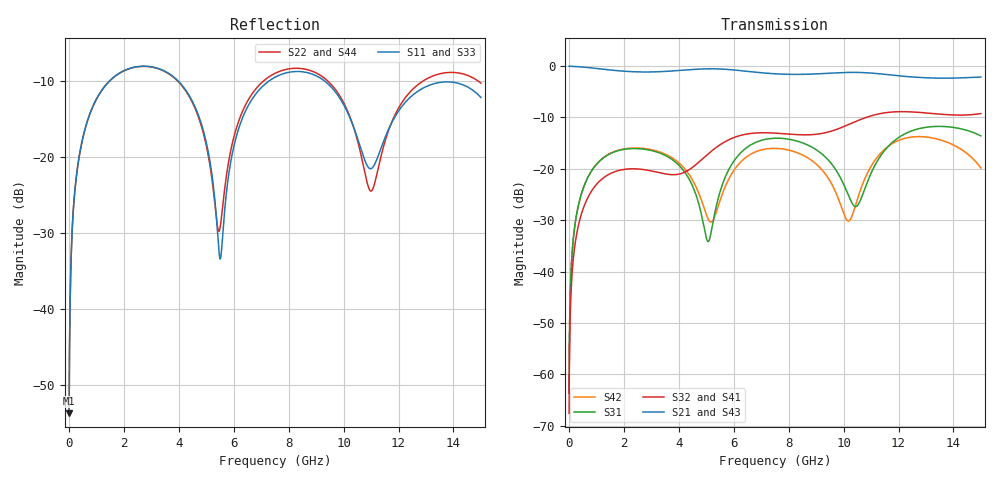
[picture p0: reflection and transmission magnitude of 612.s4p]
! Created with skrf 1.8.0 (http://scikit-rf.org).
# GHz S RI R 50.0
!freq ReS11 ImS11 ReS12 ImS12 ReS13 ImS13
! ReS14 ImS14
! ReS21 ImS21 ReS22 ImS22 ReS23 ImS23
! ReS24 ImS24
! ReS31 ImS31 ReS32 ImS32 ReS33 ImS33
! ReS34 ImS34
! ReS41 ImS41 ReS42 ImS42 ReS43 ImS43
! ReS44 ImS44
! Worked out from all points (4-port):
!   2499 points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, 5 MHz to 15 GHz, reference 50 ohm
!   strongest paths, dB at 5 MHz, 3.476 GHz, 7.19 GHz, 11.1 GHz, 15 GHz:
!     S21: 0.0, -1.0, -1.4, -1.4, -2.1
!     S43: 0.0, -1.0, -1.4, -1.4, -2.2
!     S32: -67.6, -21.0, -13.0, -9.5, -9.2
!     S41: -67.6, -21.0, -13.0, -9.5, -9.3
!     S31: -63.6, -17.3, -14.2, -19.8, -13.6
!     S42: -63.6, -17.1, -16.1, -18.7, -19.8
!   lowest |S11| = -53.7 dB at 5 MHz (marker M1), VSWR 1.00, Z = 50.2 + j0.125 ohm
!   |S11| at or under -10 dB: start of sweep to 1.493 GHz; 3.96 GHz to 7.306 GHz (3.346 GHz wide, 59.4 % of centre); 9.286 GHz to end of sweep
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0.005  0.00164 0.00124  0.9983 -0.00318  8.23e-05 0.000653  -7.99e-05 -0.000409
       0.9983 -0.00318  0.00164 0.00124  -7.99e-05 -0.000409  8.23e-05 0.000653
       8.23e-05 0.000653  -7.99e-05 -0.000409  0.00164 0.00124  0.9983 -0.00318
       -7.99e-05 -0.000409  8.23e-05 0.000653  0.9983 -0.00318  0.00164 0.00124
0.3126303  0.024 0.0818  0.9673 -0.1982  0.011 0.0388  -0.00919 -0.024
           0.9673 -0.1982  0.0239 0.0818  -0.0092 -0.024  0.0111 0.0388
           0.011 0.0388  -0.0092 -0.024  0.024 0.0818  0.9673 -0.1982
           -0.00919 -0.024  0.0111 0.0388  0.9673 -0.1982  0.0239 0.0818
1.569404  0.2734 0.1771  0.5433 -0.7332  0.1286 0.0631  -0.0912 -0.00524
          0.5433 -0.7332  0.2724 0.1776  -0.0913 -0.00503  0.1313 0.0593
          0.1286 0.0631  -0.0913 -0.00503  0.2732 0.1771  0.5433 -0.7332
          -0.0912 -0.00524  0.1313 0.0593  0.5433 -0.7332  0.2725 0.1775
5.345977  0.0234 -0.0379  -0.9295 -0.1429  0.0258 0.0321  -0.0224 0.1587
          -0.9295 -0.1429  0.0334 -0.0271  -0.0189 0.1592  -0.0287 0.0228
          0.0258 0.0321  -0.0189 0.1592  0.0243 -0.0367  -0.9296 -0.1424
          -0.0224 0.1587  -0.0287 0.0228  -0.9296 -0.1424  0.032 -0.026
8.541059  0.3596 -0.025  0.0178 0.8315  0.1292 -0.1216  0.2037 -0.0594
          0.0178 0.8315  0.3735 -0.0541  0.2034 -0.0669  0.1226 -0.056
          0.1292 -0.1216  0.2034 -0.0669  0.3603 -0.024  0.0174 0.8307
          0.2037 -0.0594  0.1226 -0.056  0.0174 0.8307  0.3765 -0.0542
11.26094  0.094 0.0376  0.8439 -0.00501  0.0434 0.1151  -0.0123 -0.3411
          0.8439 -0.00501  0.0718 0.0432  -0.0257 -0.3407  0.0222 0.1315
          0.0434 0.1151  -0.0257 -0.3407  0.094 0.0359  0.8438 -0.00414
          -0.0123 -0.3411  0.0222 0.1315  0.8438 -0.00414  0.0718 0.0454
15  0.22 -0.1077  -0.3191 -0.7145  0.0311 -0.2068  -0.2975 0.1673
    -0.3191 -0.7145  0.2568 -0.163  -0.2886 0.1891  0.0758 -0.068
    0.0311 -0.2068  -0.2886 0.1891  0.2293 -0.0995  -0.3145 -0.7138
    -0.2975 0.1673  0.0758 -0.068  -0.3145 -0.7138  0.2646 -0.172
